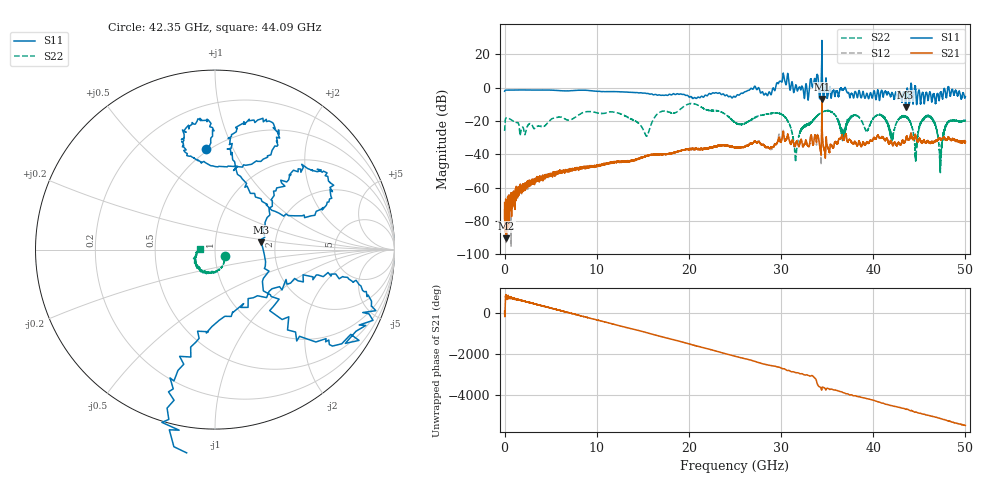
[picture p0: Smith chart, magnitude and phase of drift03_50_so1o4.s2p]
!Created with skrf (http://scikit-rf.org).
# Hz S RI R 50.0
!freq ReS11 ImS11 ReS21 ImS21 ReS12 ImS12 ReS22 ImS22
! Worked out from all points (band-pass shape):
!   10000 points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, 5.3 MHz to 50 GHz, reference 50 ohm
!   highest |S21| = -6.69 dB at 34.43 GHz (marker M1); lowest = -90.4 dB at 200.3 MHz (marker M2)
!   |S21| within 3 dB of the highest: 34.42746 GHz to 34.43566 GHz (8.202 MHz wide, 0.0238 % of centre)
!   lowest |S11| = -11.7 dB at 43.52 GHz (marker M3), VSWR 1.70, Z = 84.1 + j7.28 ohm
!   |S11| at or under -10 dB: 43.48567 GHz to 43.54376 GHz (58.1 MHz wide, 0.134 % of centre); 43.54869 GHz to 43.55284 GHz (4.148 MHz wide, 0.00952 % of centre); 44.70929 GHz to 44.7122 GHz (2.909 MHz wide, 0.00651 % of centre)
!   |S22| runs from -51.0 to -9.4 dB; largest |S21 - S12| = 0.13
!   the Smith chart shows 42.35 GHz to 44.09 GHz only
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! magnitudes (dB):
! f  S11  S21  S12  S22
! 5.3 MHz  -2.1  -68.9  -72.5  -25.9
! 200.3 MHz  -1.4  -90.4  -73.8  -18.0
! 2.125 GHz  -1.3  -59.0  -58.9  -26.3
! 8.34 GHz  -1.5  -48.5  -48.0  -15.3
! 12.46 GHz  -2.4  -44.4  -44.4  -15.5
! 15.39 GHz  -3.4  -41.0  -40.8  -28.9
! 16.67 GHz  -4.4  -39.9  -39.9  -15.3
! 20.47 GHz  -6.4  -36.8  -36.7  -9.6
! 25.01 GHz  -5.5  -35.9  -36.1  -20.8
! 29.93 GHz  4.0  -32.3  -31.8  -15.7
! 31.59 GHz  1.4  -33.9  -33.9  -43.6
! 33.34 GHz  2.6  -30.5  -30.6  -20.2
! 34.43 GHz  28.4  -6.7  -8.7  -14.6
! 36.71 GHz  -1.4  -30.0  -30.1  -25.9
! 37.93 GHz  -5.0  -33.2  -33.0  -16.5
! 41.67 GHz  -3.0  -33.2  -33.4  -22.3
! 43.52 GHz  -11.7  -31.4  -31.6  -17.5
! 44.6 GHz  -0.7  -28.8  -28.9  -43.6
! 46.25 GHz  -4.3  -32.6  -32.8  -17.3
! 47.29 GHz  -2.9  -30.6  -30.9  -45.2
! 48.12 GHz  0.3  -30.1  -30.2  -20.7
! 50 GHz  -5.3  -32.4  -32.9  -19.7
